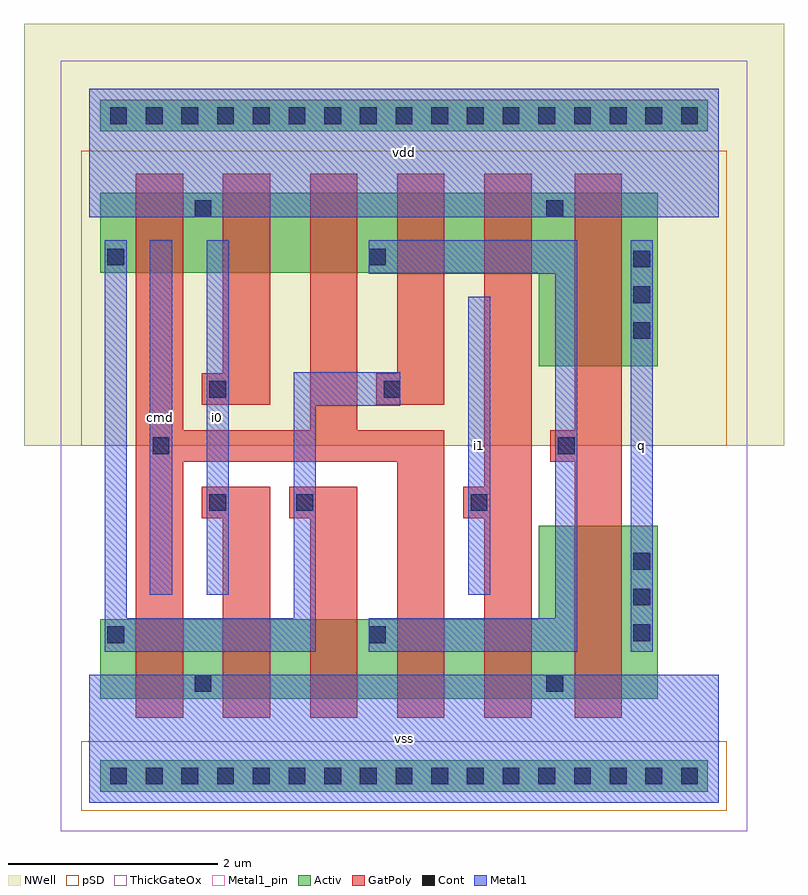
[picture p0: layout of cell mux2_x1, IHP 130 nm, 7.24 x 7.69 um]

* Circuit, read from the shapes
.subckt mux2_x1 cmd i0 i1 q vdd vss
XM1 vss cmd n1 vss sg13_hv_nmos w=0.76u l=0.45u
XM2 n2 i0 vss vss sg13_hv_nmos w=0.76u l=0.45u
XM3 n3 n1 n2 vss sg13_hv_nmos w=0.76u l=0.45u
XM4 n4 cmd n3 vss sg13_hv_nmos w=0.76u l=0.45u
XM5 vss i1 n4 vss sg13_hv_nmos w=0.76u l=0.45u
XM6 q n3 vss vss sg13_hv_nmos w=1.65u l=0.45u
XM7 vdd cmd n1 vdd sg13_hv_pmos w=0.76u l=0.45u
XM8 n5 i0 vdd vdd sg13_hv_pmos w=0.76u l=0.45u
XM9 n3 cmd n5 vdd sg13_hv_pmos w=0.76u l=0.45u
XM10 n6 n1 n3 vdd sg13_hv_pmos w=0.76u l=0.45u
XM11 vdd i1 n6 vdd sg13_hv_pmos w=0.76u l=0.45u
XM12 q n3 vdd vdd sg13_hv_pmos w=1.65u l=0.45u
.ends

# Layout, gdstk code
import gdstk
lib = gdstk.Library(unit=1e-6, precision=1e-09)
def R(c, l, rs):  # rectangles x0, y0, x1, y1
    for r in rs: c.add(gdstk.rectangle(r[:2], r[2:], *l))
def A(c, l, x, y, w, h, nx, ny, dx, dy):  # array of equal rectangles
    R(c, l, [(x+i*dx, y+j*dy, x+i*dx+w, y+j*dy+h) for i in range(nx) for j in range(ny)])
def P(c, l, *ps):  # polygons
    for p in ps: c.add(gdstk.Polygon(p, *l))
Activ = (1, 0)
GatPoly = (5, 0)
Cont = (6, 0)
Metal1 = (8, 0)
Metal1_pin = (8, 2)
pSD = (14, 0)
NWell = (31, 0)
ThickGateOx = (44, 0)

mux2_x1 = lib.new_cell('mux2_x1')
R(mux2_x1, Activ, [(0.105,0.105,5.895,0.405), (0.105,6.395,5.895,6.695)])
P(mux2_x1, Activ, [(4.285,4.16),(4.285,5.05),(0.105,5.05),(0.105,5.81),(5.415,5.81),(5.415,4.16)],
  [(0.105,0.99),(0.105,1.75),(4.285,1.75),(4.285,2.64),(5.415,2.64),(5.415,0.99)])
P(mux2_x1, GatPoly, [(2.735,3.79),(2.735,4.09),(2.935,4.09),(2.935,5.99),(3.385,5.99),(3.385,3.79)],
  [(2.105,0.81),(2.105,2.71),(1.905,2.71),(1.905,3.01),(2.555,3.01),(2.555,0.81)],
  [(0.445,0.81),(0.445,5.99),(0.895,5.99),(0.895,3.55),(2.105,3.55),(2.105,5.99),(2.555,5.99),(2.555,3.55),(3.385,3.55),(3.385,0.81),(2.935,0.81),(2.935,3.25),(0.895,3.25),(0.895,0.81)],
  [(1.275,0.81),(1.275,2.71),(1.075,2.71),(1.075,3.01),(1.725,3.01),(1.725,0.81)],
  [(1.075,3.79),(1.075,4.09),(1.275,4.09),(1.275,5.99),(1.725,5.99),(1.725,3.79)],
  [(4.625,0.81),(4.625,3.25),(4.395,3.25),(4.395,3.55),(4.625,3.55),(4.625,5.99),(5.075,5.99),(5.075,0.81)],
  [(3.765,0.81),(3.765,2.71),(3.565,2.71),(3.565,3.01),(3.765,3.01),(3.765,5.99),(4.215,5.99),(4.215,0.81)])
A(mux2_x1, Cont, 0.2, 0.175, 0.16, 0.16, 17, 2, 0.34, 6.29)
A(mux2_x1, Cont, 5.185, 1.54, 0.16, 0.16, 1, 3, 0, 0.34)
A(mux2_x1, Cont, 5.185, 4.42, 0.16, 0.16, 1, 3, 0, 0.34)
R(mux2_x1, Cont, [(1.005,1.06,1.165,1.22), (4.355,1.06,4.515,1.22), (0.175,1.52,0.335,1.68), (2.665,1.52,2.825,1.68), (1.145,2.78,1.305,2.94), (1.975,2.78,2.135,2.94), (3.635,2.78,3.795,2.94), (0.605,3.32,0.765,3.48), (4.465,3.32,4.625,3.48), (1.145,3.86,1.305,4.02), (2.805,3.86,2.965,4.02), (0.175,5.12,0.335,5.28), (2.665,5.12,2.825,5.28), (1.005,5.58,1.165,5.74), (4.355,5.58,4.515,5.74)])
R(mux2_x1, Metal1, [(0,0,6,1.22), (5.16,1.44,5.37,5.36), (0.58,1.98,0.79,5.36), (1.12,1.98,1.33,5.36), (3.61,1.98,3.82,4.82), (0,5.58,6,6.8)])
P(mux2_x1, Metal1, [(0.15,1.44),(0.15,5.36),(0.36,5.36),(0.36,1.76),(1.95,1.76),(1.95,4.1),(2.965,4.1),(2.965,3.78),(2.16,3.78),(2.16,1.44)],
  [(2.665,1.44),(2.665,1.76),(4.44,1.76),(4.44,5.04),(2.665,5.04),(2.665,5.36),(4.65,5.36),(4.65,1.44)])
R(mux2_x1, Metal1_pin, [(0,0,6,1.22), (5.16,1.44,5.37,5.36), (0.58,1.98,0.79,5.36), (1.12,1.98,1.33,5.36), (3.61,1.98,3.82,4.82), (0,5.58,6,6.8)])
R(mux2_x1, pSD, [(-0.075,-0.075,6.075,0.585), (-0.075,3.4,6.075,6.21)])
R(mux2_x1, NWell, [(-0.62,3.4,6.62,7.42)])
R(mux2_x1, ThickGateOx, [(-0.27,-0.27,6.27,7.07)])
mux2_x1.add(gdstk.Label('vdd', (3,6.19), layer=8, texttype=2))
mux2_x1.add(gdstk.Label('vss', (3,0.61), layer=8, texttype=2))
mux2_x1.add(gdstk.Label('cmd', (0.685,3.67), layer=8, texttype=2))
mux2_x1.add(gdstk.Label('i0', (1.225,3.67), layer=8, texttype=2))
mux2_x1.add(gdstk.Label('i1', (3.715,3.4), layer=8, texttype=2))
mux2_x1.add(gdstk.Label('q', (5.265,3.4), layer=8, texttype=2))

lib.write_gds('mux2_x1.gds')
